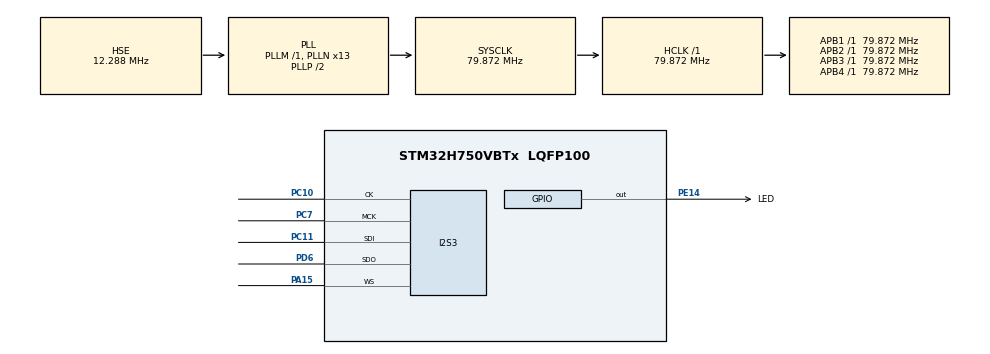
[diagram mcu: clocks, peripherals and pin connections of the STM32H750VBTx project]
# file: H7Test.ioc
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CORTEX_M7.default_mode_Activation=1
Dma.Request0=SPI3_RX
Dma.Request1=SPI3_TX
Dma.SPI3_RX.0.Direction=DMA_PERIPH_TO_MEMORY
Dma.SPI3_RX.0.EventEnable=DISABLE
Dma.SPI3_RX.0.FIFOMode=DMA_FIFOMODE_DISABLE
Dma.SPI3_RX.0.Instance=DMA1_Stream0
Dma.SPI3_RX.0.MemDataAlignment=DMA_MDATAALIGN_WORD
Dma.SPI3_RX.0.MemInc=DMA_MINC_ENABLE
Dma.SPI3_RX.0.Mode=DMA_CIRCULAR
Dma.SPI3_RX.0.PeriphDataAlignment=DMA_PDATAALIGN_WORD
Dma.SPI3_RX.0.PeriphInc=DMA_PINC_DISABLE
Dma.SPI3_RX.0.Polarity=HAL_DMAMUX_REQ_GEN_RISING
Dma.SPI3_RX.0.Priority=DMA_PRIORITY_VERY_HIGH
Dma.SPI3_RX.0.RequestNumber=1
Dma.SPI3_RX.0.SignalID=NONE
Dma.SPI3_RX.0.SyncEnable=DISABLE
Dma.SPI3_RX.0.SyncPolarity=HAL_DMAMUX_SYNC_NO_EVENT
Dma.SPI3_RX.0.SyncRequestNumber=1
Dma.SPI3_RX.0.SyncSignalID=NONE
Dma.SPI3_TX.1.Direction=DMA_MEMORY_TO_PERIPH
Dma.SPI3_TX.1.EventEnable=DISABLE
Dma.SPI3_TX.1.FIFOMode=DMA_FIFOMODE_DISABLE
Dma.SPI3_TX.1.Instance=DMA1_Stream1
Dma.SPI3_TX.1.MemDataAlignment=DMA_MDATAALIGN_WORD
Dma.SPI3_TX.1.MemInc=DMA_MINC_ENABLE
Dma.SPI3_TX.1.Mode=DMA_CIRCULAR
Dma.SPI3_TX.1.PeriphDataAlignment=DMA_PDATAALIGN_WORD
Dma.SPI3_TX.1.PeriphInc=DMA_PINC_DISABLE
Dma.SPI3_TX.1.Polarity=HAL_DMAMUX_REQ_GEN_RISING
Dma.SPI3_TX.1.Priority=DMA_PRIORITY_VERY_HIGH
Dma.SPI3_TX.1.RequestNumber=1
Dma.SPI3_TX.1.SignalID=NONE
Dma.SPI3_TX.1.SyncEnable=DISABLE
Dma.SPI3_TX.1.SyncPolarity=HAL_DMAMUX_SYNC_NO_EVENT
Dma.SPI3_TX.1.SyncRequestNumber=1
Dma.SPI3_TX.1.SyncSignalID=NONE
I2S3.AudioFreq=I2S_AUDIOFREQ_48K
I2S3.DataFormat=I2S_DATAFORMAT_24B
I2S3.ErrorAudioFreq=0.0 %
I2S3.Instance=SPI$Index
I2S3.RealAudioFreq=48.0 KHz
Mcu.Family=STM32H7
Mcu.Name=STM32H750VBTx
Mcu.Package=LQFP100
NVIC.DMA1_Stream0_IRQn=true\:0\:0\:false\:false\:true\:false\:true\:true
NVIC.DMA1_Stream1_IRQn=true\:0\:0\:false\:false\:true\:false\:true\:true
NVIC.PriorityGroup=NVIC_PRIORITYGROUP_4
PA13\ (JTMS/SWDIO).Mode=Serial_Wire
PA13\ (JTMS/SWDIO).Signal=DEBUG_JTMS-SWDIO
PA14\ (JTCK/SWCLK).Mode=Serial_Wire
PA14\ (JTCK/SWCLK).Signal=DEBUG_JTCK-SWCLK
PA15\ (JTDI).Mode=Full_Duplex_Master
PA15\ (JTDI).Signal=I2S3_WS
PC10.Mode=Full_Duplex_Master
PC10.Signal=I2S3_CK
PC11.Mode=Full_Duplex_Master
PC11.Signal=I2S3_SDI
PC7.Mode=Master_Clock_Activated
PC7.Signal=I2S3_MCK
PD6.Mode=Full_Duplex_Master
PD6.Signal=I2S3_SDO
PE14.GPIO_Label=LED
PE14.Signal=GPIO_Output
PH0-OSC_IN\ (PH0).Mode=HSE-External-Oscillator
PH0-OSC_IN\ (PH0).Signal=RCC_OSC_IN
PH1-OSC_OUT\ (PH1).Mode=HSE-External-Oscillator
PH1-OSC_OUT\ (PH1).Signal=RCC_OSC_OUT
ProjectManager.HeapSize=0x200
ProjectManager.StackSize=0x400
ProjectManager.TargetToolchain=STM32CubeIDE
RCC.ADCFreq_Value=79872000
RCC.APB1Freq_Value=79872000
RCC.APB2Freq_Value=79872000
RCC.APB3Freq_Value=79872000
RCC.APB4Freq_Value=79872000
RCC.CortexFreq_Value=79872000
RCC.DIVM1=1
RCC.DIVM2=1
RCC.DIVM3=1
RCC.DIVN1=13
RCC.DIVN2=13
RCC.DIVN3=16
RCC.DIVP3=16
RCC.DIVQ1=12
RCC.HCLKFreq_Value=79872000
RCC.HSE_VALUE=12288000
RCC.PLLSourceVirtual=RCC_PLLSOURCE_HSE
RCC.SPI123CLockSelection=RCC_SPI123CLKSOURCE_PLL3
RCC.SYSCLKFreq_VALUE=79872000
RCC.SYSCLKSource=RCC_SYSCLKSOURCE_PLLCLK
RCC.USBFreq_Value=13312000
VP_MEMORYMAP_VS_MEMORYMAP.Mode=CurAppReg
board=custom

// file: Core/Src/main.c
/* USER CODE BEGIN Header */
/**
  ******************************************************************************
  * @file           : main.c
  * @brief          : Main program body
  ******************************************************************************
  * @attention
  *
  * Copyright (c) 2026 STMicroelectronics.
  * All rights reserved.
  *
  * This software is licensed under terms that can be found in the LICENSE file
  * in the root directory of this software component.
  * If no LICENSE file comes with this software, it is provided AS-IS.
  *
  ******************************************************************************
  */
/* USER CODE END Header */
#include "main.h"

/* USER CODE BEGIN Includes */
#include "math.h"
/* USER CODE END Includes */

/* USER CODE BEGIN PD */
#define BUFFER_SIZE 256
#define FLOAT_TO_INT24 8388608.0f   // 2^23
#define INT24_TO_FLOAT (1.0f / 8388608.0f)

/* USER CODE END PD */

I2S_HandleTypeDef hi2s3;
DMA_HandleTypeDef hdma_spi3_rx;
DMA_HandleTypeDef hdma_spi3_tx;

/* USER CODE BEGIN PV */
int32_t adcData[BUFFER_SIZE];
int32_t dacData[BUFFER_SIZE];

static volatile int32_t *pBufIn;
static volatile int32_t *pBufOut = &dacData[0];

volatile uint8_t ready;

/* USER CODE END PV */

void SystemClock_Config(void);
static void MPU_Config(void);
static void MX_GPIO_Init(void);
static void MX_DMA_Init(void);
static void MX_I2S3_Init(void);

/* USER CODE BEGIN 0 */
void HAL_I2SEx_TxRxHalfCpltCallback(I2S_HandleTypeDef *hi2s3){
	pBufIn = &adcData[0];
	pBufOut = &dacData[0];
	ready = 1;
}

void HAL_I2SEx_TxRxCpltCallback(I2S_HandleTypeDef *hi2s3){
	pBufIn = &adcData[BUFFER_SIZE / 2];
	pBufOut = &dacData[BUFFER_SIZE / 2];
	ready = 1;

}

typedef struct {
    float a;
    float z;
} LPF1;

LPF1 lpf;

void LPF1_Init(LPF1 *f, float cutoff, float fs)
{
    float x = expf(-2.0f * M_PI * cutoff / fs);
    f->a = x;
    f->z = 0.0f;
}
static inline float LPF1_Update(LPF1 *f, float x)
{
    f->z = (1.0f - f->a) * x + f->a * f->z;
    return f->z;
}

void processData(void)
{
    for (uint16_t i = 0; i < BUFFER_SIZE / 2; i += 2)
    {
        int32_t raw = pBufIn[i + 1];

        // sign-extend 24-bit
        raw <<= 8;
        raw >>= 8;

        float x = (float)raw * INT24_TO_FLOAT;

        float y = LPF1_Update(&lpf, x);

        int32_t out = (int32_t)(y * FLOAT_TO_INT24);

        pBufOut[i]     = out;
        pBufOut[i + 1] = out;
    }
    ready = 0;
}

/* USER CODE END 0 */

int main(void)
{

  /* MPU Configuration--------------------------------------------------------*/
  MPU_Config();

  /* MCU Configuration--------------------------------------------------------*/

  /* Reset of all peripherals, Initializes the Flash interface and the Systick. */
  HAL_Init();

  /* Configure the system clock */
  SystemClock_Config();

  /* Initialize all configured peripherals */
  MX_GPIO_Init();
  MX_DMA_Init();
  MX_I2S3_Init();
  /* USER CODE BEGIN 2 */
  HAL_I2SEx_TransmitReceive_DMA(&hi2s3, (uint16_t *) dacData, (uint16_t *) adcData, BUFFER_SIZE);
  LPF1_Init(&lpf, 4000.0f, 48000.0f);

  /* USER CODE END 2 */

  /* Infinite loop */
  while (1)
  {

    /* USER CODE BEGIN 3 */
	  if(ready) processData();
  }
  /* USER CODE END 3 */
}

void SystemClock_Config(void)
{
  RCC_OscInitTypeDef RCC_OscInitStruct = {0};
  RCC_ClkInitTypeDef RCC_ClkInitStruct = {0};

  /** Supply configuration update enable
  */
  HAL_PWREx_ConfigSupply(PWR_LDO_SUPPLY);

  /** Configure the main internal regulator output voltage
  */
  __HAL_PWR_VOLTAGESCALING_CONFIG(PWR_REGULATOR_VOLTAGE_SCALE3);

  while(!__HAL_PWR_GET_FLAG(PWR_FLAG_VOSRDY)) {}

  /** Initializes the RCC Oscillators according to the specified parameters
  * in the RCC_OscInitTypeDef structure.
  */
  RCC_OscInitStruct.OscillatorType = RCC_OSCILLATORTYPE_HSE;
  RCC_OscInitStruct.HSEState = RCC_HSE_ON;
  RCC_OscInitStruct.PLL.PLLState = RCC_PLL_ON;
  RCC_OscInitStruct.PLL.PLLSource = RCC_PLLSOURCE_HSE;
  RCC_OscInitStruct.PLL.PLLM = 1;
  RCC_OscInitStruct.PLL.PLLN = 13;
  RCC_OscInitStruct.PLL.PLLP = 2;
  RCC_OscInitStruct.PLL.PLLQ = 12;
  RCC_OscInitStruct.PLL.PLLR = 2;
  RCC_OscInitStruct.PLL.PLLRGE = RCC_PLL1VCIRANGE_3;
  RCC_OscInitStruct.PLL.PLLVCOSEL = RCC_PLL1VCOMEDIUM;
  RCC_OscInitStruct.PLL.PLLFRACN = 0;
  if (HAL_RCC_OscConfig(&RCC_OscInitStruct) != HAL_OK)
  {
    Error_Handler();
  }

  /** Initializes the CPU, AHB and APB buses clocks
  */
  RCC_ClkInitStruct.ClockType = RCC_CLOCKTYPE_HCLK|RCC_CLOCKTYPE_SYSCLK
                              |RCC_CLOCKTYPE_PCLK1|RCC_CLOCKTYPE_PCLK2
                              |RCC_CLOCKTYPE_D3PCLK1|RCC_CLOCKTYPE_D1PCLK1;
  RCC_ClkInitStruct.SYSCLKSource = RCC_SYSCLKSOURCE_PLLCLK;
  RCC_ClkInitStruct.SYSCLKDivider = RCC_SYSCLK_DIV1;
  RCC_ClkInitStruct.AHBCLKDivider = RCC_HCLK_DIV1;
  RCC_ClkInitStruct.APB3CLKDivider = RCC_APB3_DIV1;
  RCC_ClkInitStruct.APB1CLKDivider = RCC_APB1_DIV1;
  RCC_ClkInitStruct.APB2CLKDivider = RCC_APB2_DIV1;
  RCC_ClkInitStruct.APB4CLKDivider = RCC_APB4_DIV1;

  if (HAL_RCC_ClockConfig(&RCC_ClkInitStruct, FLASH_LATENCY_1) != HAL_OK)
  {
    Error_Handler();
  }
}

static void MX_I2S3_Init(void)
{

  hi2s3.Instance = SPI3;
  hi2s3.Init.Mode = I2S_MODE_MASTER_FULLDUPLEX;
  hi2s3.Init.Standard = I2S_STANDARD_PHILIPS;
  hi2s3.Init.DataFormat = I2S_DATAFORMAT_24B;
  hi2s3.Init.MCLKOutput = I2S_MCLKOUTPUT_ENABLE;
  hi2s3.Init.AudioFreq = I2S_AUDIOFREQ_48K;
  hi2s3.Init.CPOL = I2S_CPOL_LOW;
  hi2s3.Init.FirstBit = I2S_FIRSTBIT_MSB;
  hi2s3.Init.WSInversion = I2S_WS_INVERSION_DISABLE;
  hi2s3.Init.Data24BitAlignment = I2S_DATA_24BIT_ALIGNMENT_RIGHT;
  hi2s3.Init.MasterKeepIOState = I2S_MASTER_KEEP_IO_STATE_DISABLE;
  if (HAL_I2S_Init(&hi2s3) != HAL_OK)
  {
    Error_Handler();
  }

}

static void MX_DMA_Init(void)
{

  /* DMA controller clock enable */
  __HAL_RCC_DMA1_CLK_ENABLE();

  /* DMA interrupt init */
  /* DMA1_Stream0_IRQn interrupt configuration */
  HAL_NVIC_SetPriority(DMA1_Stream0_IRQn, 0, 0);
  HAL_NVIC_EnableIRQ(DMA1_Stream0_IRQn);
  /* DMA1_Stream1_IRQn interrupt configuration */
  HAL_NVIC_SetPriority(DMA1_Stream1_IRQn, 0, 0);
  HAL_NVIC_EnableIRQ(DMA1_Stream1_IRQn);

}

static void MX_GPIO_Init(void)
{
  GPIO_InitTypeDef GPIO_InitStruct = {0};

  /* GPIO Ports Clock Enable */
  __HAL_RCC_GPIOH_CLK_ENABLE();
  __HAL_RCC_GPIOE_CLK_ENABLE();
  __HAL_RCC_GPIOC_CLK_ENABLE();
  __HAL_RCC_GPIOA_CLK_ENABLE();
  __HAL_RCC_GPIOD_CLK_ENABLE();

  /*Configure GPIO pin Output Level */
  HAL_GPIO_WritePin(LED_GPIO_Port, LED_Pin, GPIO_PIN_RESET);

  /*Configure GPIO pin : LED_Pin */
  GPIO_InitStruct.Pin = LED_Pin;
  GPIO_InitStruct.Mode = GPIO_MODE_OUTPUT_PP;
  GPIO_InitStruct.Pull = GPIO_NOPULL;
  GPIO_InitStruct.Speed = GPIO_SPEED_FREQ_LOW;
  HAL_GPIO_Init(LED_GPIO_Port, &GPIO_InitStruct);

}

 /* MPU Configuration */

void MPU_Config(void)
{
  MPU_Region_InitTypeDef MPU_InitStruct = {0};

  /* Disables the MPU */
  HAL_MPU_Disable();

  /** Initializes and configures the Region and the memory to be protected
  */
  MPU_InitStruct.Enable = MPU_REGION_ENABLE;
  MPU_InitStruct.Number = MPU_REGION_NUMBER0;
  MPU_InitStruct.BaseAddress = 0x0;
  MPU_InitStruct.Size = MPU_REGION_SIZE_4GB;
  MPU_InitStruct.SubRegionDisable = 0x87;
  MPU_InitStruct.TypeExtField = MPU_TEX_LEVEL0;
  MPU_InitStruct.AccessPermission = MPU_REGION_NO_ACCESS;
  MPU_InitStruct.DisableExec = MPU_INSTRUCTION_ACCESS_DISABLE;
  MPU_InitStruct.IsShareable = MPU_ACCESS_SHAREABLE;
  MPU_InitStruct.IsCacheable = MPU_ACCESS_NOT_CACHEABLE;
  MPU_InitStruct.IsBufferable = MPU_ACCESS_NOT_BUFFERABLE;

  HAL_MPU_ConfigRegion(&MPU_InitStruct);
  /* Enables the MPU */
  HAL_MPU_Enable(MPU_PRIVILEGED_DEFAULT);

}

void Error_Handler(void)
{
  __disable_irq();
  while (1)
  {
  }
}
